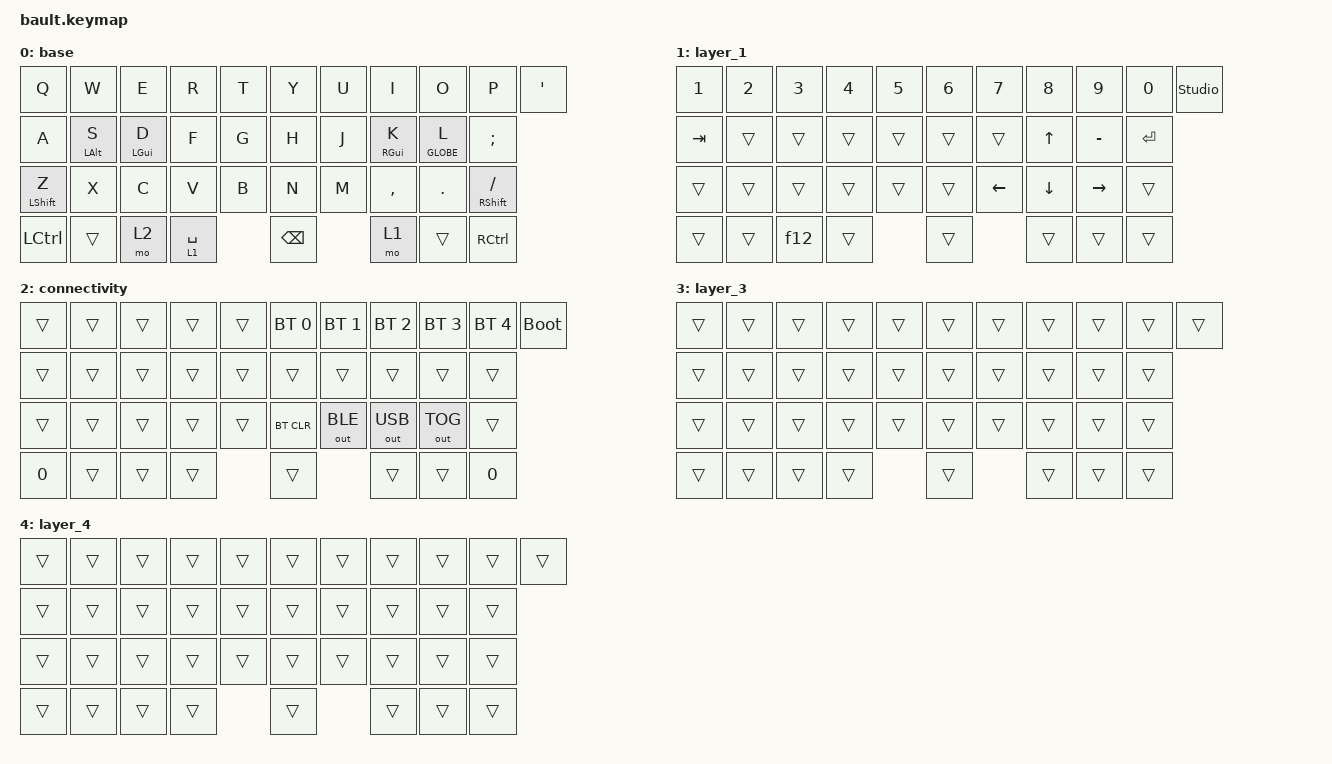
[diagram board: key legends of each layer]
#include <behaviors.dtsi>
#include <dt-bindings/zmk/bt.h>
#include <dt-bindings/zmk/keys.h>
#include <dt-bindings/zmk/outputs.h>

/ {
    behaviors {
        hm: homerow_mods {
            compatible = "zmk,behavior-hold-tap";
            display-name = "Homerow Mods";
            bindings = <&kp>, <&kp>;

            #binding-cells = <2>;
            tapping-term-ms = <200>;
            quick-tap-ms = <180>;
            require-prior-idle-ms = <0>;
            flavor = "tap-preferred";
        };
    };

    macros {
        f12: f12 {
            compatible = "zmk,behavior-macro";
            #binding-cells = <0>;
            bindings = <&kp F &kp U &kp C &kp K &kp N1 &kp N2>;
            label = "F12";
        };
    };

    keymap {
        compatible = "zmk,keymap";

        base {
            bindings = <
&kp Q             &kp W           &kp E       &kp R        &kp T  &kp Y          &kp U  &kp I            &kp O        &kp P                  &kp SQT
&kp A             &hm LEFT_ALT S  &hm LGUI D  &kp F        &kp G  &kp H          &kp J  &hm RIGHT_GUI K  &hm GLOBE L  &kp SEMI
&hm LEFT_SHIFT Z  &kp X           &kp C       &kp V        &kp B  &kp N          &kp M  &kp COMMA        &kp PERIOD   &hm RIGHT_SHIFT SLASH
&kp LEFT_CONTROL  &trans          &mo 2       &lt 1 SPACE         &kp BACKSPACE         &mo 1            &trans       &kp RIGHT_CONTROL
            >;
        };

        layer_1 {
            bindings = <
&kp N1   &kp N2  &kp N3  &kp N4  &kp N5  &kp N6  &kp N7    &kp N8    &kp N9     &kp N0     &studio_unlock
&kp TAB  &trans  &trans  &trans  &trans  &trans  &trans    &kp UP    &kp MINUS  &kp ENTER
&trans   &trans  &trans  &trans  &trans  &trans  &kp LEFT  &kp DOWN  &kp RIGHT  &trans
&trans   &trans  &f12    &trans          &trans            &trans    &trans     &trans
            >;
        };

        connectivity {
            bindings = <
&trans  &trans  &trans  &trans  &trans  &bt BT_SEL 0  &bt BT_SEL 1  &bt BT_SEL 2  &bt BT_SEL 3  &bt BT_SEL 4  &bootloader
&trans  &trans  &trans  &trans  &trans  &trans        &trans        &trans        &trans        &trans
&trans  &trans  &trans  &trans  &trans  &bt BT_CLR    &out OUT_BLE  &out OUT_USB  &out OUT_TOG  &trans
&kp N0  &trans  &trans  &trans          &trans                      &trans        &trans        &kp N0
            >;
        };

        layer_3 {
            bindings = <
&trans  &trans  &trans  &trans  &trans  &trans  &trans  &trans  &trans  &trans  &trans
&trans  &trans  &trans  &trans  &trans  &trans  &trans  &trans  &trans  &trans
&trans  &trans  &trans  &trans  &trans  &trans  &trans  &trans  &trans  &trans
&trans  &trans  &trans  &trans          &trans          &trans  &trans  &trans
            >;
        };

        layer_4 {
            bindings = <
&trans  &trans  &trans  &trans  &trans  &trans  &trans  &trans  &trans  &trans  &trans
&trans  &trans  &trans  &trans  &trans  &trans  &trans  &trans  &trans  &trans
&trans  &trans  &trans  &trans  &trans  &trans  &trans  &trans  &trans  &trans
&trans  &trans  &trans  &trans          &trans          &trans  &trans  &trans
            >;
        };
    };
};
